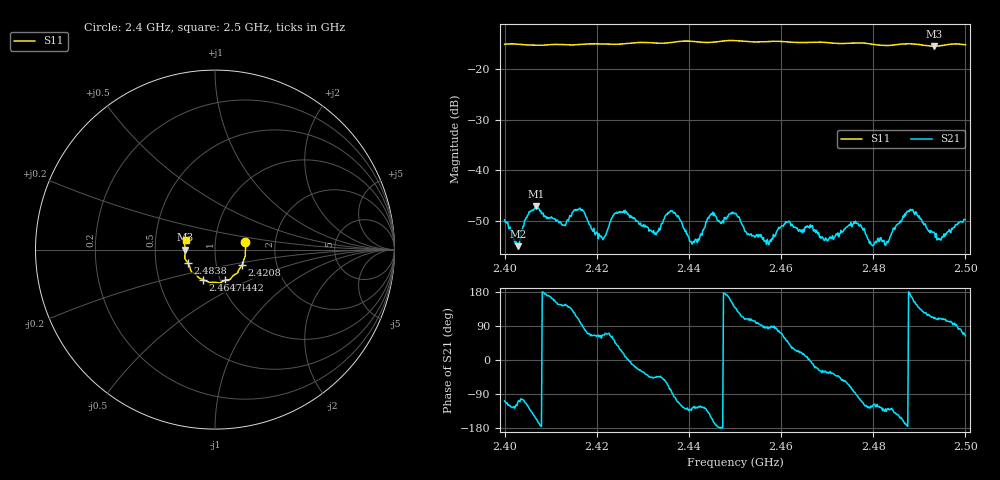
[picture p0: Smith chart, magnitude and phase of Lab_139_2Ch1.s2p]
# Hz S RI R 50
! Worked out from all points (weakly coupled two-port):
!   601 points, 2.4 GHz to 2.5 GHz, reference 50 ohm
!   highest |S21| = -46.95 dB at 2.4068 GHz (marker M1); lowest = -54.8 dB at 2.4028 GHz (marker M2)
!   lowest |S11| = -15.6 dB at 2.4932 GHz (marker M3), VSWR 1.40, Z = 35.8 - j0.0814 ohm
!   |S11| at or under -10 dB: start of sweep to end of sweep
!   S12 and S22 are empty: the file has one direction only
!   S11 on the Smith chart (normalised r, x): 2.4 GHz: 1.40, +0.12; 2.4208 GHz: 1.33, -0.24; 2.4442 GHz: 1.05, -0.37; 2.4647 GHz: 0.83, -0.29; 2.4838 GHz: 0.73, -0.11; 2.5 GHz: 0.72, +0.08
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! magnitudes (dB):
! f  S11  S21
! 2.4 GHz  -15.2  -49.7
! 2.4028 GHz  -15.2  -54.8
! 2.4068 GHz  -15.4  -46.9
! 2.4128 GHz  -15.3  -50.8
! 2.4167 GHz  -15.3  -47.9
! 2.4208 GHz  -15.2  -53.0
! 2.4253 GHz  -15.2  -48.1
! 2.4333 GHz  -15.0  -52.0
! 2.4365 GHz  -14.9  -48.1
! 2.4407 GHz  -14.7  -54.5
! 2.4442 GHz  -14.9  -49.2
! 2.45 GHz  -14.5  -48.4
! 2.4568 GHz  -14.7  -54.5
! 2.4613 GHz  -14.8  -50.1
! 2.4647 GHz  -14.9  -52.2
! 2.4667 GHz  -14.8  -50.8
! 2.4762 GHz  -15.0  -49.9
! 2.4833 GHz  -15.5  -53.8
! 2.4838 GHz  -15.4  -52.8
! 2.4882 GHz  -15.2  -47.7
! 2.4932 GHz  -15.6  -52.1
! 2.5 GHz  -15.3  -49.6
